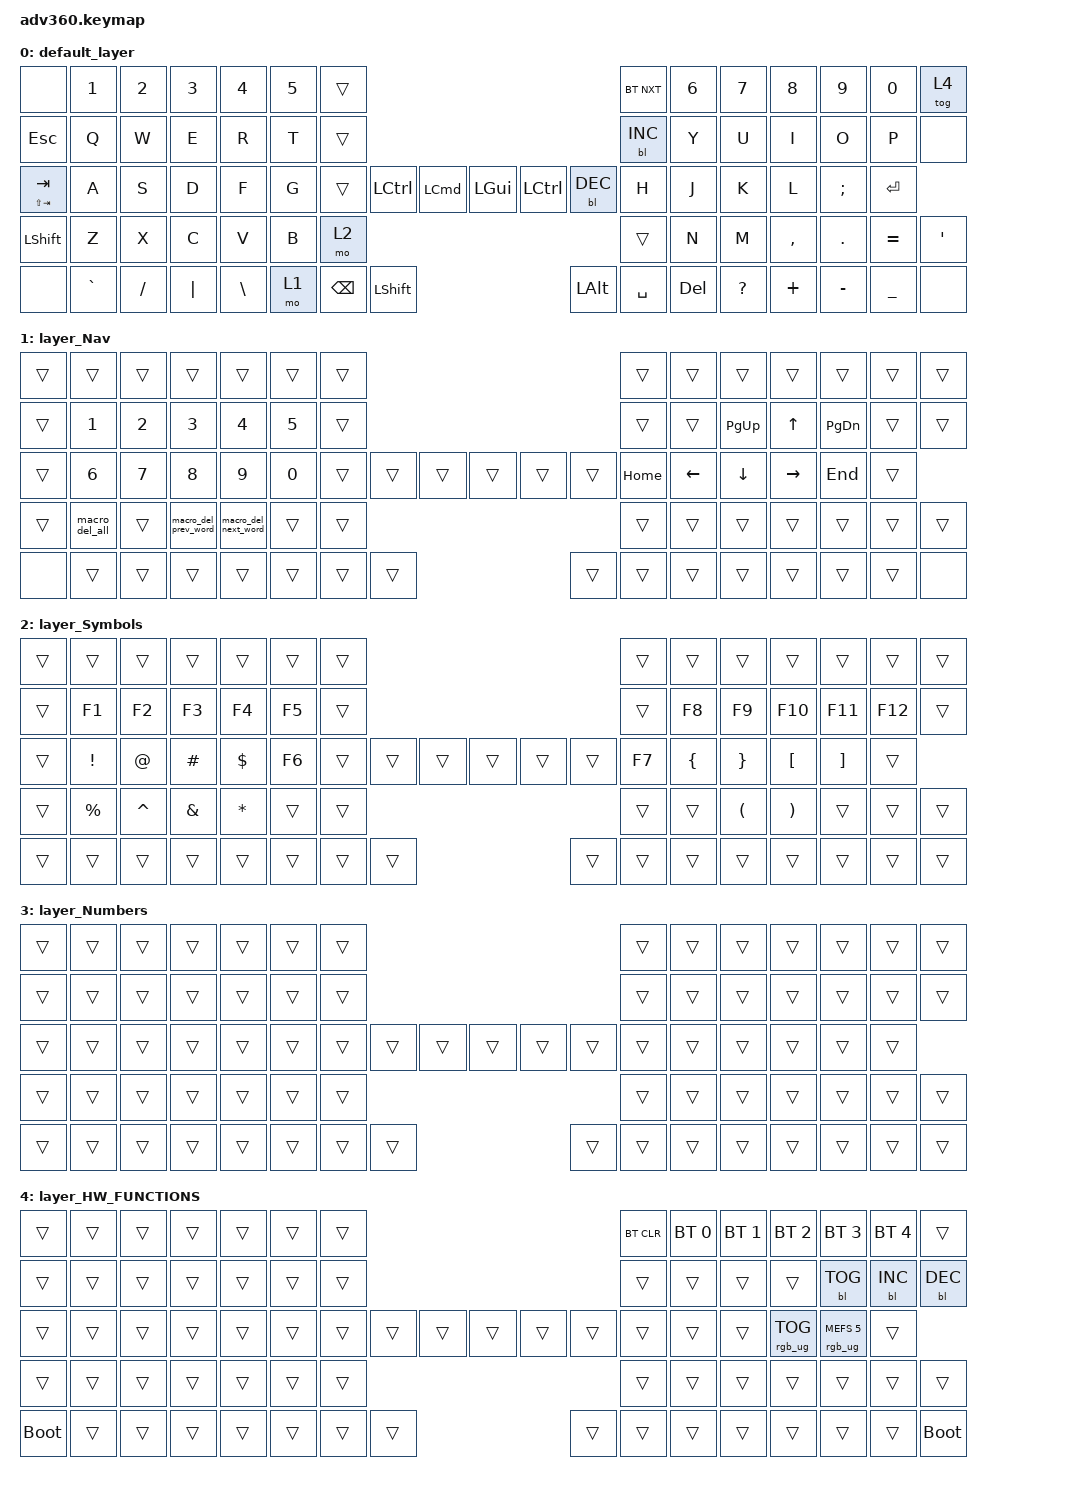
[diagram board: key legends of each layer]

/*
 * Copyright (c) 2020 The ZMK Contributors
 *
 * SPDX-License-Identifier: MIT
 */


/* THIS FILE WAS GENERATED!
 *
 * This file was generated automatically. You may or may not want to
 * edit it directly.
 */

#include <behaviors.dtsi>
#include <dt-bindings/zmk/keys.h>
#include <dt-bindings/zmk/bt.h>
#include <dt-bindings/zmk/backlight.h>
#include <dt-bindings/zmk/rgb.h>

/ {
  behaviors {
    #include "macros.dtsi"

    hm: homerow_mods {
        compatible = "zmk,behavior-hold-tap";
        label = "HOMEROW_MODS";
        #binding-cells = <2>;
        tapping-term-ms = <200>;
        quick_tap_ms = <175>;
        flavor = "tap-preferred";
        bindings = <&kp>, <&kp>;
    };
  };

    keymap {
        compatible = "zmk,keymap";


        default_layer {
            bindings = <
           &none     &kp N1     &kp N2    &kp N3         &kp N4  &kp N5            &trans                                                                                 &bt BT_NXT  &kp N6        &kp N7     &kp N8     &kp N9          &kp N0            &tog 4
         &kp ESC      &kp Q      &kp W     &kp E          &kp R   &kp T            &trans                                                                                 &bl BL_INC   &kp Y         &kp U      &kp I      &kp O           &kp P             &none
 &mt LS(TAB) TAB      &kp A      &kp S     &kp D          &kp F   &kp G            &trans      &kp LCTRL        &kp LCMD                  &kp LEFT_GUI  &kp LEFT_CONTROL  &bl BL_DEC   &kp H         &kp J      &kp K      &kp L   &kp SEMICOLON         &kp ENTER
       &kp LSHFT      &kp Z      &kp X     &kp C          &kp V   &kp B                                            &mo 2                        &trans                                 &kp N         &kp M  &kp COMMA    &kp DOT       &kp EQUAL  &kp SINGLE_QUOTE
           &none  &kp GRAVE  &kp SLASH  &kp PIPE  &kp BACKSLASH                     &mo 1  &kp BACKSPACE  &kp LEFT_SHIFT                  &kp LEFT_ALT         &kp SPACE  &kp DELETE          &kp QUESTION   &kp PLUS  &kp MINUS  &kp UNDERSCORE             &none
            >;
        };

        layer_Nav {
            bindings = <
 &trans          &trans        &trans                &trans                &trans        &trans            &trans                                                  &trans    &trans       &trans    &trans         &trans   &trans  &trans
 &trans    &kp NUMBER_1  &kp NUMBER_2          &kp NUMBER_3          &kp NUMBER_4  &kp NUMBER_5            &trans                                                  &trans    &trans  &kp PAGE_UP    &kp UP  &kp PAGE_DOWN   &trans  &trans
 &trans    &kp NUMBER_6  &kp NUMBER_7          &kp NUMBER_8          &kp NUMBER_9  &kp NUMBER_0            &trans  &trans  &trans                  &trans  &trans  &trans  &kp HOME     &kp LEFT  &kp DOWN      &kp RIGHT  &kp END  &trans
 &trans  &macro_del_all        &trans  &macro_del_prev_word  &macro_del_next_word        &trans                            &trans                  &trans                    &trans       &trans    &trans         &trans   &trans  &trans
  &none          &trans        &trans                &trans                &trans                          &trans  &trans  &trans                  &trans  &trans  &trans                 &trans    &trans         &trans   &trans   &none
            >;
        };

        layer_Symbols {
            bindings = <
 &trans           &trans     &trans         &trans      &trans  &trans            &trans                                                  &trans  &trans                &trans                 &trans            &trans             &trans  &trans
 &trans           &kp F1     &kp F2         &kp F3      &kp F4  &kp F5            &trans                                                  &trans  &kp F8                &kp F9                &kp F10           &kp F11            &kp F12  &trans
 &trans  &kp EXCLAMATION     &kp AT      &kp POUND  &kp DOLLAR  &kp F6            &trans  &trans  &trans                  &trans  &trans  &trans  &kp F7        &kp LEFT_BRACE        &kp RIGHT_BRACE  &kp LEFT_BRACKET  &kp RIGHT_BRACKET  &trans
 &trans      &kp PERCENT  &kp CARET  &kp AMPERSAND    &kp STAR  &trans                            &trans                  &trans                  &trans  &kp LEFT_PARENTHESIS  &kp RIGHT_PARENTHESIS            &trans             &trans  &trans
 &trans           &trans     &trans         &trans      &trans                    &trans  &trans  &trans                  &trans  &trans  &trans                        &trans                 &trans            &trans             &trans  &trans
            >;
        };

        layer_Numbers {
            bindings = <
 &trans  &trans  &trans  &trans  &trans  &trans            &trans                                                  &trans  &trans  &trans  &trans  &trans  &trans  &trans
 &trans  &trans  &trans  &trans  &trans  &trans            &trans                                                  &trans  &trans  &trans  &trans  &trans  &trans  &trans
 &trans  &trans  &trans  &trans  &trans  &trans            &trans  &trans  &trans                  &trans  &trans  &trans  &trans  &trans  &trans  &trans  &trans  &trans
 &trans  &trans  &trans  &trans  &trans  &trans                            &trans                  &trans                  &trans  &trans  &trans  &trans  &trans  &trans
 &trans  &trans  &trans  &trans  &trans                    &trans  &trans  &trans                  &trans  &trans  &trans          &trans  &trans  &trans  &trans  &trans
            >;
        };

        layer_HW_FUNCTIONS {
            bindings = <
      &trans  &trans  &trans  &trans  &trans  &trans            &trans                                                  &bt BT_CLR  &bt BT_SEL 0  &bt BT_SEL 1  &bt BT_SEL 2     &bt BT_SEL 3            &bt BT_SEL 4       &trans
      &trans  &trans  &trans  &trans  &trans  &trans            &trans                                                      &trans        &trans        &trans        &trans       &bl BL_TOG              &bl BL_INC   &bl BL_DEC
      &trans  &trans  &trans  &trans  &trans  &trans            &trans  &trans  &trans                  &trans  &trans      &trans        &trans        &trans        &trans  &rgb_ug RGB_TOG  &rgb_ug RGB_MEFS_CMD 5       &trans
      &trans  &trans  &trans  &trans  &trans  &trans                            &trans                  &trans                            &trans        &trans        &trans           &trans                  &trans       &trans
 &bootloader  &trans  &trans  &trans  &trans                    &trans  &trans  &trans                  &trans  &trans      &trans                      &trans        &trans           &trans                  &trans  &bootloader
            >;
        };

    };
};
